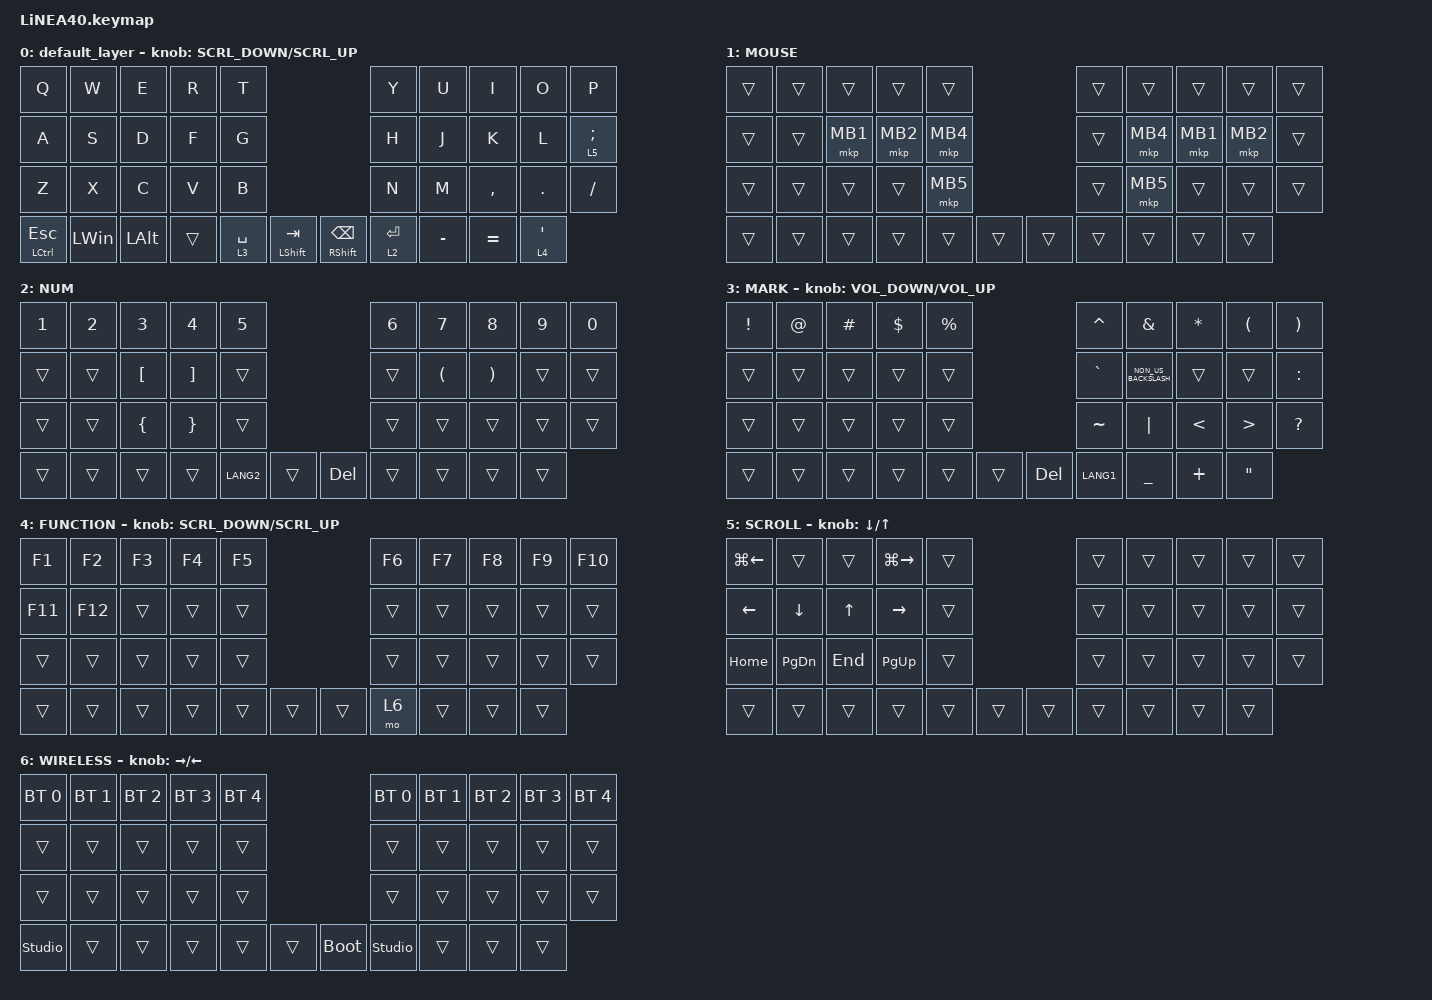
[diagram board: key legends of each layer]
#define ZMK_POINTING_DEFAULT_SCRL_VAL 150

#include <dt-bindings/zmk/input_transform.h>
#include <input/processors.dtsi>
#include <zephyr/dt-bindings/input/input-event-codes.h>
#include <behaviors.dtsi>
#include <dt-bindings/zmk/bt.h>
#include <dt-bindings/zmk/keys.h>
#include <dt-bindings/zmk/pointing.h>

#define MOUSE 1
#define MARK 2
#define CURSOR 3
#define FUNCTION 4
#define SCROLL 5
#define WIRELESS 6

//mouse cursol

&mmv {
    delay-ms = <20>;
    trigger-period-ms = <5>;
    time-to-max-speed-ms = <100>;
    acceleration-exponent = <2>;
};

//mouse scroll

&msc {
    delay-ms = <3>;
    trigger-period-ms = <3>;
    time-to-max-speed-ms = <100>;
    acceleration-exponent = <0>;
};

/ {
    input_processors {
        zip_wheel_scaler: zip_wheel_scaler {
            compatible = "zmk,input-processor-scaler";
            #input-processor-cells = <2>;
            type = <INPUT_EV_REL>;
            codes = <INPUT_REL_WHEEL>;
            track-remainders;
        };
    };
};

&msc_input_listener {
    speed_up {
        layers = <FUNCTION>;
        input-processors = <&zip_wheel_scaler 3 1>; //スクロールを3倍速にする
    };
};

&trackball_listener {
    scroller {
        layers = <SCROLL>;
        input-processors =
            <&zip_xy_transform INPUT_TRANSFORM_Y_INVERT>,
            //スクロール方向を逆転,,,,,,,,,,,,,,
            <&zip_xy_to_scroll_mapper>;
    };
};

/ {
    combos {
        compatible = "zmk,combos";

        middle1 {
            bindings = <&mkp MB3>;
            key-positions = <18 17>;
        };

        middle2 {
            bindings = <&mkp MB3>;
            key-positions = <12 13>;
        };

        esc {
            bindings = <&kp ESCAPE>;
            key-positions = <0 1>;
        };

        tab {
            bindings = <&kp TAB>;
            key-positions = <10 11>;
        };
    };

    behaviors {
        re_kp: sensor_rotate_kp {
            compatible = "zmk,behavior-sensor-rotate-var";
            #sensor-binding-cells = <2>;
            bindings = <&kp>, <&kp>;
        };

        mouse_scrl: mouse_wheel_scrl {
            compatible = "zmk,behavior-sensor-rotate-var";
            #sensor-binding-cells = <2>;
            bindings = <&msc>, <&msc>;

            tap-ms = <20>;
        };
    };

    keymap {
        compatible = "zmk,keymap";

        default_layer {
            bindings = <
&kp Q          &kp W         &kp E         &kp R   &kp T                                                         &kp Y        &kp U  &kp I      &kp O      &kp P
&kp A          &kp S         &kp D         &kp F   &kp G                                                         &kp H        &kp J  &kp K      &kp L      &lt 5 SEMICOLON
&kp Z          &kp X         &kp C         &kp V   &kp B                                                         &kp N        &kp M  &kp COMMA  &kp DOT    &kp SLASH
&mt LCTRL ESC  &kp LEFT_WIN  &kp LEFT_ALT  &trans  &lt 3 SPACE  &mt LEFT_SHIFT TAB    &mt RIGHT_SHIFT BACKSPACE  &lt 2 ENTER         &kp MINUS  &kp EQUAL  &lt 4 SINGLE_QUOTE
            >;

            sensor-bindings = <&mouse_scrl SCRL_DOWN SCRL_UP>;
        };

        MOUSE {
            bindings = <
&trans  &trans  &trans    &trans    &trans                      &trans  &trans    &trans    &trans    &trans
&trans  &trans  &mkp MB1  &mkp MB2  &mkp MB4                    &trans  &mkp MB4  &mkp MB1  &mkp MB2  &trans
&trans  &trans  &trans    &trans    &mkp MB5                    &trans  &mkp MB5  &trans    &trans    &trans
&trans  &trans  &trans    &trans    &trans    &trans    &trans  &trans            &trans    &trans    &trans
            >;
        };

        NUM {
            bindings = <
&kp NUMBER_1  &kp NUMBER_2  &kp N3            &kp NUMBER_4       &kp NUMBER_5                        &kp NUMBER_6  &kp NUMBER_7          &kp NUMBER_8           &kp NUMBER_9  &kp NUMBER_0
&trans        &trans        &kp LEFT_BRACKET  &kp RIGHT_BRACKET  &trans                              &trans        &kp LEFT_PARENTHESIS  &kp RIGHT_PARENTHESIS  &trans        &trans
&trans        &trans        &kp LEFT_BRACE    &kp RIGHT_BRACE    &trans                              &trans        &trans                &trans                 &trans        &trans
&trans        &trans        &trans            &trans             &kp LANG2     &trans    &kp DELETE  &trans                              &trans                 &trans        &trans
            >;
        };

        MARK {
            bindings = <
&kp EXCLAMATION  &kp AT_SIGN  &kp HASH  &kp DOLLAR  &kp PERCENT                     &kp CARET  &kp AMPERSAND         &kp ASTERISK    &kp LEFT_PARENTHESIS  &kp RIGHT_PARENTHESIS
&trans           &trans       &trans    &trans      &trans                          &kp GRAVE  &kp NON_US_BACKSLASH  &trans          &trans                &kp COLON
&trans           &trans       &trans    &trans      &trans                          &kp TILDE  &kp PIPE              &kp LESS_THAN   &kp GREATER_THAN      &kp QUESTION
&trans           &trans       &trans    &trans      &trans       &trans    &kp DEL  &kp LANG1                        &kp UNDERSCORE  &kp PLUS              &kp DOUBLE_QUOTES
            >;

            sensor-bindings = <&re_kp C_VOLUME_DOWN C_VOLUME_UP>;
        };

        FUNCTION {
            bindings = <
&kp F1   &kp F2   &kp F3  &kp F4  &kp F5                    &kp F6  &kp F7  &kp F8  &kp F9  &kp F10
&kp F11  &kp F12  &trans  &trans  &trans                    &trans  &trans  &trans  &trans  &trans
&trans   &trans   &trans  &trans  &trans                    &trans  &trans  &trans  &trans  &trans
&trans   &trans   &trans  &trans  &trans  &trans    &trans  &mo 6           &trans  &trans  &trans
            >;

            sensor-bindings = <&mouse_scrl SCRL_DOWN SCRL_UP>;
        };

        SCROLL {
            bindings = <
&kp LG(LEFT_ARROW)  &trans          &trans        &kp LG(RIGHT)    &trans                    &trans  &trans  &trans  &trans  &trans
&kp LEFT_ARROW      &kp DOWN_ARROW  &kp UP_ARROW  &kp RIGHT_ARROW  &trans                    &trans  &trans  &trans  &trans  &trans
&kp HOME            &kp PAGE_DOWN   &kp END       &kp PAGE_UP      &trans                    &trans  &trans  &trans  &trans  &trans
&trans              &trans          &trans        &trans           &trans  &trans    &trans  &trans          &trans  &trans  &trans
            >;

            sensor-bindings = <&inc_dec_kp DOWN_ARROW UP_ARROW>;
        };

        WIRELESS {
            bindings = <
&bt BT_SEL 0    &bt BT_SEL 1  &bt BT_SEL 2  &bt BT_SEL 3  &bt BT_SEL 4                         &bt BT_SEL 0    &bt BT_SEL 1  &bt BT_SEL 2  &bt BT_SEL 3  &bt BT_SEL 4
&trans          &trans        &trans        &trans        &trans                               &trans          &trans        &trans        &trans        &trans
&trans          &trans        &trans        &trans        &trans                               &trans          &trans        &trans        &trans        &trans
&studio_unlock  &trans        &trans        &trans        &trans        &trans    &bootloader  &studio_unlock                &trans        &trans        &trans
            >;

            sensor-bindings = <&inc_dec_kp RIGHT_ARROW LEFT_ARROW>;
        };
    };
};
